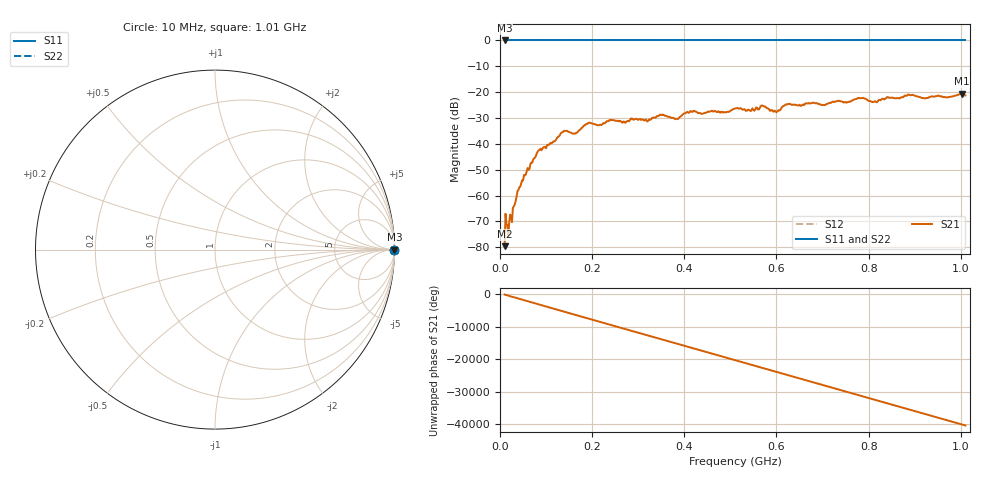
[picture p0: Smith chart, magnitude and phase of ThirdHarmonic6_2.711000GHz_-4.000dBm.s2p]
! 8/17/2025 6:32:58 AM
! C:\ANRITSUVNA\TEMP\TEMP.S2P
! CHANNEL.1
! TR.MEASUREMENT
! RAW.DATA
! RF.CORRECTION.OFF
! AVERAGING.OFF
! IF.BANDWIDTH: 5KHZ
! SWEEPTYPE:  FREQ.SWEEP(Linear)
! Reference Plane Port Info
! PORT:  PORT1  PORT2
! DISTANCE:  0  m  0  m
! TIME:  0  s  0  s
! PHASE.OFFSET:  0  deg.  0  deg.
! LOSS:  0  dB  0  dB
! REF.LOSS:  0  dB  0  dB
! REF.FREQ:  0  Hz  0  Hz
! Power Info
! POWER:  -20  dBm  -20  dBm
! EFF.POWER:  -20  dBm  -20  dBm
! SOURCE.ATTEN:  0  dB  0  dB
! TEST.ATTEN:  0  dB  0  dB
# GHZ S RI R 50.0
! FREQ.GHZ  S11RE  S11IM  S21RE  S21IM  S12RE  S12IM  S22RE  S22IM
!; PortSelection: Port_12
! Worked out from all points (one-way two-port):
!   501 points, 10 MHz to 1.01 GHz, reference 50 ohm
!   highest |S21| = -20.58 dB at 1.002 GHz (marker M1); lowest = -79.6 dB at 10 MHz (marker M2)
!   lowest |S11| = 0.0 dB at 10 MHz (marker M3)
!   |S11| at or under -10 dB: nowhere
!   |S22| runs from 0.0 to 0.0 dB; largest |S21 - S12| = 1.1
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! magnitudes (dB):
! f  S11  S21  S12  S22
! 10 MHz  0.0  -79.6  0.0  0.0
! 16 MHz  0.0  -71.5  0.0  0.0
! 22 MHz  0.0  -67.3  0.0  0.0
! 42 MHz  0.0  -56.7  0.0  0.0
! 84 MHz  0.0  -42.4  0.0  0.0
! 136 MHz  0.0  -35.5  0.0  0.0
! 162 MHz  0.0  -36.1  0.0  0.0
! 178 MHz  0.0  -33.7  0.0  0.0
! 192 MHz  0.0  -31.9  0.0  0.0
! 322 MHz  0.0  -30.9  0.0  0.0
! 344 MHz  0.0  -29.2  0.0  0.0
! 384 MHz  0.0  -30.3  0.0  0.0
! 418 MHz  0.0  -27.6  0.0  0.0
! 510 MHz  0.0  -26.3  0.0  0.0
! 570 MHz  0.0  -25.2  0.0  0.0
! 598 MHz  0.0  -27.4  0.0  0.0
! 624 MHz  0.0  -24.6  0.0  0.0
! 678 MHz  0.0  -24.1  0.0  0.0
! 814 MHz  0.0  -23.5  0.0  0.0
! 844 MHz  0.0  -22.1  0.0  0.0
! 1.002 GHz  0.0  -20.6  0.0  0.0
! 1.01 GHz  0.0  -21.2  0.0  0.0
